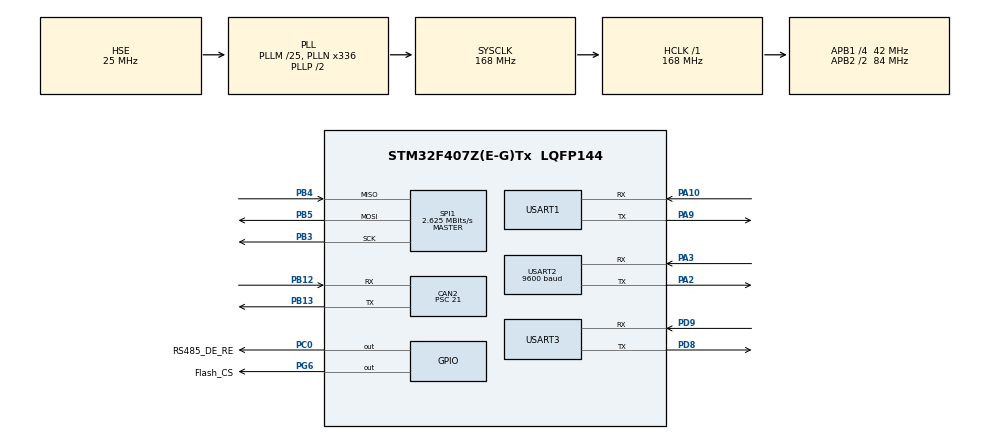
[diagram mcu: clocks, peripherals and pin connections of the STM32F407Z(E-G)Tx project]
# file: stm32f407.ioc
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CAN2.BS1=CAN_BS1_12TQ
CAN2.BS2=CAN_BS2_3TQ
CAN2.CalculateBaudRate=125000
CAN2.CalculateTimeBit=8000
CAN2.CalculateTimeQuantum=500.0
CAN2.Prescaler=21
Dma.Request0=USART2_RX
Dma.Request1=USART3_RX
Dma.USART2_RX.0.Direction=DMA_PERIPH_TO_MEMORY
Dma.USART2_RX.0.FIFOMode=DMA_FIFOMODE_DISABLE
Dma.USART2_RX.0.Instance=DMA1_Stream5
Dma.USART2_RX.0.MemDataAlignment=DMA_MDATAALIGN_BYTE
Dma.USART2_RX.0.MemInc=DMA_MINC_ENABLE
Dma.USART2_RX.0.Mode=DMA_CIRCULAR
Dma.USART2_RX.0.PeriphDataAlignment=DMA_PDATAALIGN_BYTE
Dma.USART2_RX.0.PeriphInc=DMA_PINC_DISABLE
Dma.USART2_RX.0.Priority=DMA_PRIORITY_HIGH
Dma.USART3_RX.1.Direction=DMA_PERIPH_TO_MEMORY
Dma.USART3_RX.1.FIFOMode=DMA_FIFOMODE_DISABLE
Dma.USART3_RX.1.Instance=DMA1_Stream1
Dma.USART3_RX.1.MemDataAlignment=DMA_MDATAALIGN_BYTE
Dma.USART3_RX.1.MemInc=DMA_MINC_ENABLE
Dma.USART3_RX.1.Mode=DMA_CIRCULAR
Dma.USART3_RX.1.PeriphDataAlignment=DMA_PDATAALIGN_BYTE
Dma.USART3_RX.1.PeriphInc=DMA_PINC_DISABLE
Dma.USART3_RX.1.Priority=DMA_PRIORITY_HIGH
FREERTOS.Tasks01=linkTask,32,512,StartLinkTask,Default,NULL,Dynamic,NULL,NULL;fieldTask,24,512,StartFieldTask,Default,NULL,Dynamic,NULL,NULL;modbusTask,24,768,StartModbusTask,Default,NULL,Dynamic,NULL,NULL;supervisorTask,16,256,StartSupervisorTask,Default,NULL,Dynamic,NULL,NULL
FREERTOS.configMAX_CO_ROUTINE_PRIORITIES=2
FREERTOS.configTOTAL_HEAP_SIZE=32768
Mcu.Family=STM32F4
Mcu.Name=STM32F407Z(E-G)Tx
Mcu.Package=LQFP144
NVIC.CAN2_RX0_IRQn=true\:5\:0\:true\:false\:true\:true\:true\:true\:true
NVIC.CAN2_SCE_IRQn=true\:6\:0\:true\:false\:true\:true\:true\:true\:true
NVIC.DMA1_Stream1_IRQn=true\:6\:0\:true\:false\:true\:true\:false\:true\:true
NVIC.DMA1_Stream5_IRQn=true\:6\:0\:true\:false\:true\:true\:false\:true\:true
NVIC.PriorityGroup=NVIC_PRIORITYGROUP_4
NVIC.TIM6_DAC_IRQn=true\:15\:0\:false\:false\:true\:false\:false\:true\:true
NVIC.TimeBase=TIM6_DAC_IRQn
NVIC.TimeBaseIP=TIM6
NVIC.USART2_IRQn=true\:6\:0\:true\:false\:true\:true\:true\:true\:true
NVIC.USART3_IRQn=true\:6\:0\:true\:false\:true\:true\:true\:true\:true
PA10.Mode=Asynchronous
PA10.Signal=USART1_RX
PA13.Mode=Serial_Wire
PA13.Signal=SYS_JTMS-SWDIO
PA14.Mode=Serial_Wire
PA14.Signal=SYS_JTCK-SWCLK
PA2.Mode=Asynchronous
PA2.Signal=USART2_TX
PA3.Mode=Asynchronous
PA3.Signal=USART2_RX
PA9.Mode=Asynchronous
PA9.Signal=USART1_TX
PB12.Mode=CAN_Activate
PB12.Signal=CAN2_RX
PB13.Mode=CAN_Activate
PB13.Signal=CAN2_TX
PB3.Mode=Full_Duplex_Master
PB3.Signal=SPI1_SCK
PB4.Mode=Full_Duplex_Master
PB4.Signal=SPI1_MISO
PB5.Mode=Full_Duplex_Master
PB5.Signal=SPI1_MOSI
PC0.GPIO_Label=RS485_DE_RE
PC0.Signal=GPIO_Output
PD8.Mode=Asynchronous
PD8.Signal=USART3_TX
PD9.Mode=Asynchronous
PD9.Signal=USART3_RX
PG6.GPIO_Label=Flash_CS
PG6.PinState=GPIO_PIN_SET
PG6.Signal=GPIO_Output
PH0-OSC_IN.Mode=HSE-External-Oscillator
PH0-OSC_IN.Signal=RCC_OSC_IN
PH1-OSC_OUT.Mode=HSE-External-Oscillator
PH1-OSC_OUT.Signal=RCC_OSC_OUT
ProjectManager.HeapSize=0x200
ProjectManager.StackSize=0x400
ProjectManager.TargetToolchain=CMake
RCC.48MHZClocksFreq_Value=84000000
RCC.AHBFreq_Value=168000000
RCC.APB1CLKDivider=RCC_HCLK_DIV4
RCC.APB1Freq_Value=42000000
RCC.APB1TimFreq_Value=84000000
RCC.APB2CLKDivider=RCC_HCLK_DIV2
RCC.APB2Freq_Value=84000000
RCC.APB2TimFreq_Value=168000000
RCC.CortexFreq_Value=168000000
RCC.HCLKFreq_Value=168000000
RCC.HSE_VALUE=25000000
RCC.HSI_VALUE=16000000
RCC.LSE_VALUE=32768
RCC.PLLM=25
RCC.PLLN=336
RCC.PLLSourceVirtual=RCC_PLLSOURCE_HSE
RCC.SYSCLKFreq_VALUE=168000000
RCC.SYSCLKSource=RCC_SYSCLKSOURCE_PLLCLK
RCC.VCOOutputFreq_Value=336000000
SPI1.BaudRatePrescaler=SPI_BAUDRATEPRESCALER_32
SPI1.CLKPhase=SPI_PHASE_2EDGE
SPI1.CLKPolarity=SPI_POLARITY_HIGH
SPI1.CalculateBaudRate=2.625 MBits/s
SPI1.Direction=SPI_DIRECTION_2LINES
SPI1.Mode=SPI_MODE_MASTER
SPI1.VirtualType=VM_MASTER
USART1.VirtualMode=VM_ASYNC
USART2.BaudRate=9600
USART2.VirtualMode=VM_ASYNC
USART3.VirtualMode=VM_ASYNC
VP_FREERTOS_VS_CMSIS_V2.Mode=CMSIS_V2
VP_SYS_VS_tim6.Mode=TIM6
board=custom

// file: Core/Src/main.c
/* USER CODE BEGIN Header */
/**
  ******************************************************************************
  * @file           : main.c
  * @brief          : Main program body
  ******************************************************************************
  * @attention
  *
  * Copyright (c) 2026 STMicroelectronics.
  * All rights reserved.
  *
  * This software is licensed under terms that can be found in the LICENSE file
  * in the root directory of this software component.
  * If no LICENSE file comes with this software, it is provided AS-IS.
  *
  ******************************************************************************
  */
/* USER CODE END Header */
#include "main.h"
#include "cmsis_os.h"
#include "can.h"
#include "dma.h"
#include "spi.h"
#include "usart.h"
#include "gpio.h"

void SystemClock_Config(void);
void MX_FREERTOS_Init(void);

int main(void)
{

  /* MCU Configuration--------------------------------------------------------*/

  /* Reset of all peripherals, Initializes the Flash interface and the Systick. */
  HAL_Init();

  /* Configure the system clock */
  SystemClock_Config();

  /* Initialize all configured peripherals */
  MX_GPIO_Init();
  MX_DMA_Init();
  MX_USART2_UART_Init();
  MX_SPI1_Init();
  MX_USART3_UART_Init();
  MX_CAN2_Init();
  MX_USART1_UART_Init();

  /* Init scheduler */
  osKernelInitialize();

  /* Call init function for freertos objects (in cmsis_os2.c) */
  MX_FREERTOS_Init();

  /* Start scheduler */
  osKernelStart();

  /* We should never get here as control is now taken by the scheduler */

  /* Infinite loop */
  while (1)
  {

  }
}

void SystemClock_Config(void)
{
  RCC_OscInitTypeDef RCC_OscInitStruct = {0};
  RCC_ClkInitTypeDef RCC_ClkInitStruct = {0};

  /** Configure the main internal regulator output voltage
  */
  __HAL_RCC_PWR_CLK_ENABLE();
  __HAL_PWR_VOLTAGESCALING_CONFIG(PWR_REGULATOR_VOLTAGE_SCALE1);

  /** Initializes the RCC Oscillators according to the specified parameters
  * in the RCC_OscInitTypeDef structure.
  */
  RCC_OscInitStruct.OscillatorType = RCC_OSCILLATORTYPE_HSE;
  RCC_OscInitStruct.HSEState = RCC_HSE_ON;
  RCC_OscInitStruct.PLL.PLLState = RCC_PLL_ON;
  RCC_OscInitStruct.PLL.PLLSource = RCC_PLLSOURCE_HSE;
  RCC_OscInitStruct.PLL.PLLM = 25;
  RCC_OscInitStruct.PLL.PLLN = 336;
  RCC_OscInitStruct.PLL.PLLP = RCC_PLLP_DIV2;
  RCC_OscInitStruct.PLL.PLLQ = 4;
  if (HAL_RCC_OscConfig(&RCC_OscInitStruct) != HAL_OK)
  {
    Error_Handler();
  }

  /** Initializes the CPU, AHB and APB buses clocks
  */
  RCC_ClkInitStruct.ClockType = RCC_CLOCKTYPE_HCLK|RCC_CLOCKTYPE_SYSCLK
                              |RCC_CLOCKTYPE_PCLK1|RCC_CLOCKTYPE_PCLK2;
  RCC_ClkInitStruct.SYSCLKSource = RCC_SYSCLKSOURCE_PLLCLK;
  RCC_ClkInitStruct.AHBCLKDivider = RCC_SYSCLK_DIV1;
  RCC_ClkInitStruct.APB1CLKDivider = RCC_HCLK_DIV4;
  RCC_ClkInitStruct.APB2CLKDivider = RCC_HCLK_DIV2;

  if (HAL_RCC_ClockConfig(&RCC_ClkInitStruct, FLASH_LATENCY_5) != HAL_OK)
  {
    Error_Handler();
  }
}

void HAL_TIM_PeriodElapsedCallback(TIM_HandleTypeDef *htim)
{
  if (htim->Instance == TIM6)
  {
    HAL_IncTick();
  }
}

void Error_Handler(void)
{
  __disable_irq();
  while (1)
  {
  }
}

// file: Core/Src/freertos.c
/* USER CODE BEGIN Header */
/**
  ******************************************************************************
  * File Name          : freertos.c
  * Description        : Code for freertos applications
  ******************************************************************************
  * @attention
  *
  * Copyright (c) 2026 STMicroelectronics.
  * All rights reserved.
  *
  * This software is licensed under terms that can be found in the LICENSE file
  * in the root directory of this software component.
  * If no LICENSE file comes with this software, it is provided AS-IS.
  *
  ******************************************************************************
  */
/* USER CODE END Header */

#include "FreeRTOS.h"
#include "task.h"
#include "main.h"
#include "cmsis_os.h"

/* USER CODE BEGIN Includes */
#include "gateway_app.h"

/* USER CODE END Includes */

/* Definitions for linkTask */
osThreadId_t linkTaskHandle;
const osThreadAttr_t linkTask_attributes = {
  .name = "linkTask",
  .stack_size = 512 * 4,
  .priority = (osPriority_t) osPriorityAboveNormal,
};
/* Definitions for fieldTask */
osThreadId_t fieldTaskHandle;
const osThreadAttr_t fieldTask_attributes = {
  .name = "fieldTask",
  .stack_size = 512 * 4,
  .priority = (osPriority_t) osPriorityNormal,
};
/* Definitions for modbusTask */
osThreadId_t modbusTaskHandle;
const osThreadAttr_t modbusTask_attributes = {
  .name = "modbusTask",
  .stack_size = 768 * 4,
  .priority = (osPriority_t) osPriorityNormal,
};
/* Definitions for supervisorTask */
osThreadId_t supervisorTaskHandle;
const osThreadAttr_t supervisorTask_attributes = {
  .name = "supervisorTask",
  .stack_size = 256 * 4,
  .priority = (osPriority_t) osPriorityBelowNormal,
};

/* USER CODE BEGIN FunctionPrototypes */
void StartStorageTask(void *argument);

/* USER CODE END FunctionPrototypes */

void StartLinkTask(void *argument);
void StartFieldTask(void *argument);
void StartModbusTask(void *argument);
void StartSupervisorTask(void *argument);

void MX_FREERTOS_Init(void); /* (MISRA C 2004 rule 8.1) */

void MX_FREERTOS_Init(void) {
  /* USER CODE BEGIN Init */
  configASSERT(GatewayApp_Init());

  /* USER CODE END Init */

  /* Create the thread(s) */
  /* creation of linkTask */
  linkTaskHandle = osThreadNew(StartLinkTask, NULL, &linkTask_attributes);

  /* creation of fieldTask */
  fieldTaskHandle = osThreadNew(StartFieldTask, NULL, &fieldTask_attributes);

  /* creation of modbusTask */
  modbusTaskHandle = osThreadNew(StartModbusTask, NULL, &modbusTask_attributes);

  /* creation of supervisorTask */
  supervisorTaskHandle = osThreadNew(StartSupervisorTask, NULL, &supervisorTask_attributes);

  /* USER CODE BEGIN RTOS_THREADS */
  const osThreadAttr_t storage_attributes = { .name="storageTask", .stack_size=4096, .priority=osPriorityBelowNormal };
  extern void StartStorageTask(void *argument);
  configASSERT(osThreadNew(StartStorageTask, NULL, &storage_attributes) != NULL);
  configASSERT(linkTaskHandle != NULL);
  configASSERT(fieldTaskHandle != NULL);
  configASSERT(modbusTaskHandle != NULL);
  configASSERT(supervisorTaskHandle != NULL);
  /* USER CODE END RTOS_THREADS */

}

void StartLinkTask(void *argument)
{
  /* USER CODE BEGIN StartLinkTask */
  (void)argument;
  GatewayApp_LinkTask();
  vTaskDelete(NULL);
  /* USER CODE END StartLinkTask */
}

void StartFieldTask(void *argument)
{
  /* USER CODE BEGIN StartFieldTask */
  (void)argument;
  GatewayApp_FieldTask();
  vTaskDelete(NULL);
  /* USER CODE END StartFieldTask */
}

void StartModbusTask(void *argument)
{
  /* USER CODE BEGIN StartModbusTask */
  (void)argument;
  GatewayApp_ModbusTask();
  vTaskDelete(NULL);
  /* USER CODE END StartModbusTask */
}

void StartSupervisorTask(void *argument)
{
  /* USER CODE BEGIN StartSupervisorTask */
  (void)argument;
  GatewayApp_SupervisorTask();
  vTaskDelete(NULL);
  /* USER CODE END StartSupervisorTask */
}

/* USER CODE BEGIN Application */
void StartStorageTask(void *argument) { (void)argument; GatewayApp_StorageTask(); }

/* USER CODE END Application */
